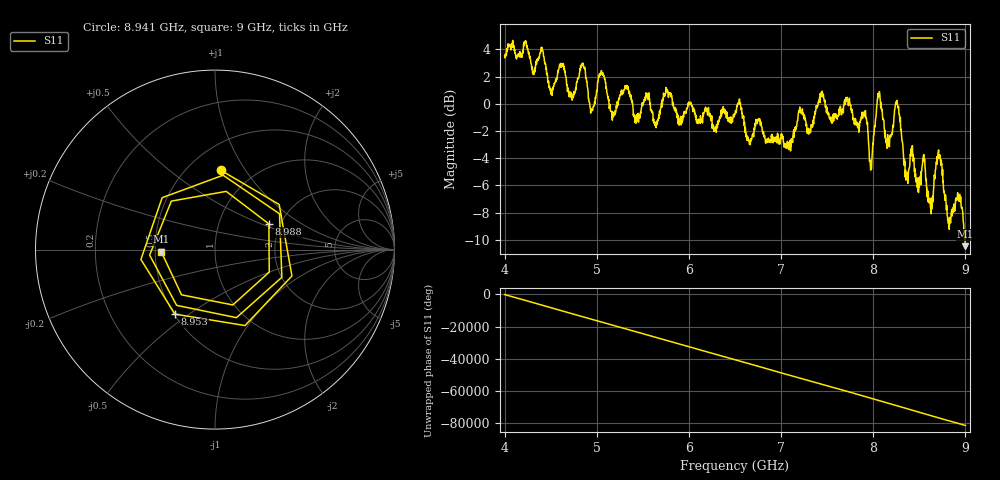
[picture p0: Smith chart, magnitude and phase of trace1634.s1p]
! Created with skrf 1.8.0 (http://scikit-rf.org).
# Hz S RI R 50.0
!freq ReS11 ImS11
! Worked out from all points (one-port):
!   1601 points, 4 GHz to 9 GHz, reference 50 ohm
!   lowest |S11| = -10.5 dB at 9 GHz (marker M1), VSWR 1.86, Z = 27 - j0.719 ohm
!   |S11| at or under -10 dB: 8.996206 GHz to end of sweep
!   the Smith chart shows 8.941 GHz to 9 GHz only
!   S11 on the Smith chart (normalised r, x): 8.941 GHz: 0.71, +0.78; 8.953 GHz: 0.51, -0.44; 8.988 GHz: 1.74, +0.56; 9 GHz: 0.54, -0.01
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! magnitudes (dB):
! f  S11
! 4 GHz  3.5
! 4.403 GHz  4.0
! 4.506 GHz  0.7
! 4.625 GHz  2.9
! 4.725 GHz  0.7
! 4.85 GHz  3.0
! 4.947 GHz  -0.4
! 5.047 GHz  2.2
! 5.25 GHz  0.6
! 5.875 GHz  -0.8
! 6.5 GHz  -0.7
! 7.125 GHz  -2.8
! 7.434 GHz  0.6
! 7.75 GHz  -0.1
! 7.912 GHz  -0.5
! 7.975 GHz  -4.5
! 8.059 GHz  0.7
! 8.156 GHz  -2.3
! 8.259 GHz  0.2
! 8.375 GHz  -5.9
! 8.547 GHz  -3.7
! 8.625 GHz  -7.1
! 8.716 GHz  -3.9
! 8.819 GHz  -8.5
! 8.941 GHz  -7.1
! 8.953 GHz  -7.5
! 8.988 GHz  -9.6
! 9 GHz  -10.5
